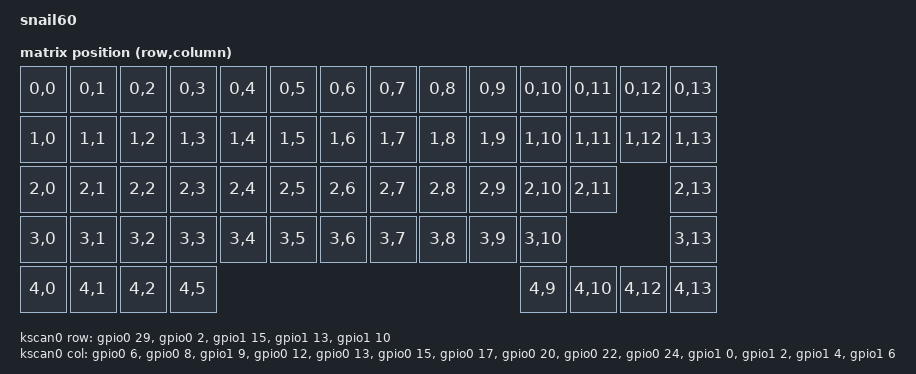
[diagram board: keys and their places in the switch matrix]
/*
 * Copyright (c) 2021 Nick Winans
 *
 * SPDX-License-Identifier: MIT
 */

/dts-v1/;
#include <nordic/nrf52840_qiaa.dtsi>
#include <common/nordic/nrf52840_uf2_boot_mode.dtsi>

#include <dt-bindings/led/led.h>
#include <dt-bindings/zmk/hid_indicators.h>
#include <dt-bindings/zmk/matrix_transform.h>

#include "snail60_layouts.dtsi"

&physical_layout0 {
    transform = <&matrix_transform0>;
};

/ {
    model = "snail60";
    compatible = "snail60";

    chosen {
        zephyr,code-partition = &code_partition;
        zephyr,sram = &sram0;
        zephyr,flash = &flash0;
        zmk,battery = &vbatt;
        zmk,kscan = &kscan0;
        zmk,physical-layout = &physical_layout0;
        zmk,backlight = &backlight;
        zmk,studio-rpc-uart = &studio_rpc_usb_uart;
    };

    matrix_transform0: matrix_transform_0 {
        compatible = "zmk,matrix-transform";
        columns = <14>;
        rows = <5>;
        map = <
        RC(0,0) RC(0,1) RC(0,2) RC(0,3) RC(0,4) RC(0,5) RC(0,6) RC(0,7) RC(0,8) RC(0,9) RC(0,10) RC(0,11) RC(0,12) RC(0,13)
        RC(1,0) RC(1,1) RC(1,2) RC(1,3) RC(1,4) RC(1,5) RC(1,6) RC(1,7) RC(1,8) RC(1,9) RC(1,10) RC(1,11) RC(1,12) RC(1,13)
        RC(2,0) RC(2,1) RC(2,2) RC(2,3) RC(2,4) RC(2,5) RC(2,6) RC(2,7) RC(2,8) RC(2,9) RC(2,10) RC(2,11)          RC(2,13)
        RC(3,0) RC(3,1) RC(3,2) RC(3,3) RC(3,4) RC(3,5) RC(3,6) RC(3,7) RC(3,8) RC(3,9) RC(3,10)                   RC(3,13)
        RC(4,0) RC(4,1) RC(4,2)                      RC(4,5)                    RC(4,9) RC(4,10)          RC(4,12) RC(4,13)
        >;
    };

    kscan0: kscan {
        compatible = "zmk,kscan-gpio-matrix";
        wakeup-source;

        diode-direction = "col2row";
        // Gaming-oriented debounce: fast press detection, stable release handling.
        debounce-press-ms = <2>;
        debounce-release-ms = <5>;
        // Scan every 1 ms while a key is debouncing.
        debounce-scan-period-ms = <1>;
        row-gpios
            = <&gpio0 29 (GPIO_ACTIVE_HIGH | GPIO_PULL_DOWN)>
            , <&gpio0 2  (GPIO_ACTIVE_HIGH | GPIO_PULL_DOWN)>
            , <&gpio1 15 (GPIO_ACTIVE_HIGH | GPIO_PULL_DOWN)>
            , <&gpio1 13 (GPIO_ACTIVE_HIGH | GPIO_PULL_DOWN)>
            , <&gpio1 10 (GPIO_ACTIVE_HIGH | GPIO_PULL_DOWN)>
            ;
        col-gpios
            = <&gpio0 6  GPIO_ACTIVE_HIGH>
            , <&gpio0 8  GPIO_ACTIVE_HIGH>
            , <&gpio1 9  GPIO_ACTIVE_HIGH>
            , <&gpio0 12 GPIO_ACTIVE_HIGH>
            , <&gpio0 13 GPIO_ACTIVE_HIGH>
            , <&gpio0 15  GPIO_ACTIVE_HIGH>
            , <&gpio0 17  GPIO_ACTIVE_HIGH>
            , <&gpio0 20  GPIO_ACTIVE_HIGH>
            , <&gpio0 22  GPIO_ACTIVE_HIGH>
            , <&gpio0 24  GPIO_ACTIVE_HIGH>
            , <&gpio1 0   GPIO_ACTIVE_HIGH>
            , <&gpio1 2  GPIO_ACTIVE_HIGH>
            , <&gpio1 4  GPIO_ACTIVE_HIGH>
            , <&gpio1 6  GPIO_ACTIVE_HIGH>
            ;
    };

    leds {
        compatible = "gpio-leds";
        red_led: led_0 {
            gpios = <&gpio0 26 GPIO_ACTIVE_HIGH>;
            label = "Caps Lock LED";
        };
    };
    // 功能绑定 (大写锁定灯的核心)
    indicators {
        compatible = "zmk,indicator-leds";
        caps_lock_indicator: caps_lock {
            indicator = <HID_INDICATOR_CAPS_LOCK>;
            leds = <&red_led>;
        };
    };
    
    backlight: pwm_leds {
        compatible = "pwm-leds";
        pwm_led_0: pwm_led_0 {
            // 使用 PWM0 的第 0 通道，周期 10ms
            pwms = <&pwm0 0 PWM_MSEC(10) PWM_POLARITY_NORMAL>;
        };
    };

    vbatt: vbatt {
        compatible = "zmk,battery-voltage-divider";
        io-channels = <&adc 2>; // 对应 P0.04 (AIN2)
        output-ohms = <1000000>; // R_low 是 1M
        full-ohms = <(1000000 + 1000000)>; // 总阻值 R_high + R_low 是 2M
    };
};

&uicr {
    nfct-pins-as-gpios;
};

&reg0 {
    status = "okay";
};

&reg1 {
    regulator-initial-mode = <NRF5X_REG_MODE_DCDC>;
};

&adc {
    status = "okay";
};

&gpiote {
    status = "okay";
};

&gpio0 {
    status = "okay";
};

&gpio1 {
    status = "okay";
};

&pwm0 {
    status = "okay";
    pinctrl-0 = <&pwm0_default>;
    pinctrl-1 = <&pwm0_sleep>;
    pinctrl-names = "default", "sleep";
};

&pinctrl {
    pwm0_default: pwm0_default {
        group1 {
            psels = <NRF_PSEL(PWM_OUT0, 0, 31)>; // P0.31 用于 PWM 输出
        };
    };

    pwm0_sleep: pwm0_sleep {
        group1 {
            psels = <NRF_PSEL(PWM_OUT0, 0, 31)>;
            low-power-enable; // 开启低功耗模式
        };
    };
};

zephyr_udc0: &usbd {
    compatible = "nordic,nrf-usbd";
    status = "okay";

    studio_rpc_usb_uart: studio_rpc_usb_uart {
        compatible = "zephyr,cdc-acm-uart";
    };
};

&flash0 {
    /*
     * For more information, see:
     * http://docs.zephyrproject.org/latest/devices/dts/flash_partitions.html
     */
    partitions {
        compatible = "fixed-partitions";
        #address-cells = <1>;
        #size-cells = <1>;

        sd_partition: partition@0 {
            reg = <0x00000000 0x00001000>;
        };

        code_partition: partition@1000 {
            reg = <0x00001000 0x000d3000>;
        };

        /*
         * The flash starting at 0x000d4000 and ending at
         * 0x000f3fff is reserved for use by the application.
         */

        /*
         * Storage partition will be used by FCB/LittleFS/NVS
         * if enabled.
         */
        storage_partition: partition@d4000 {
            reg = <0x000d4000 0x00020000>;
        };

        boot_partition: partition@f4000 {
            reg = <0x000f4000 0x0000c000>;
        };
    };
};


